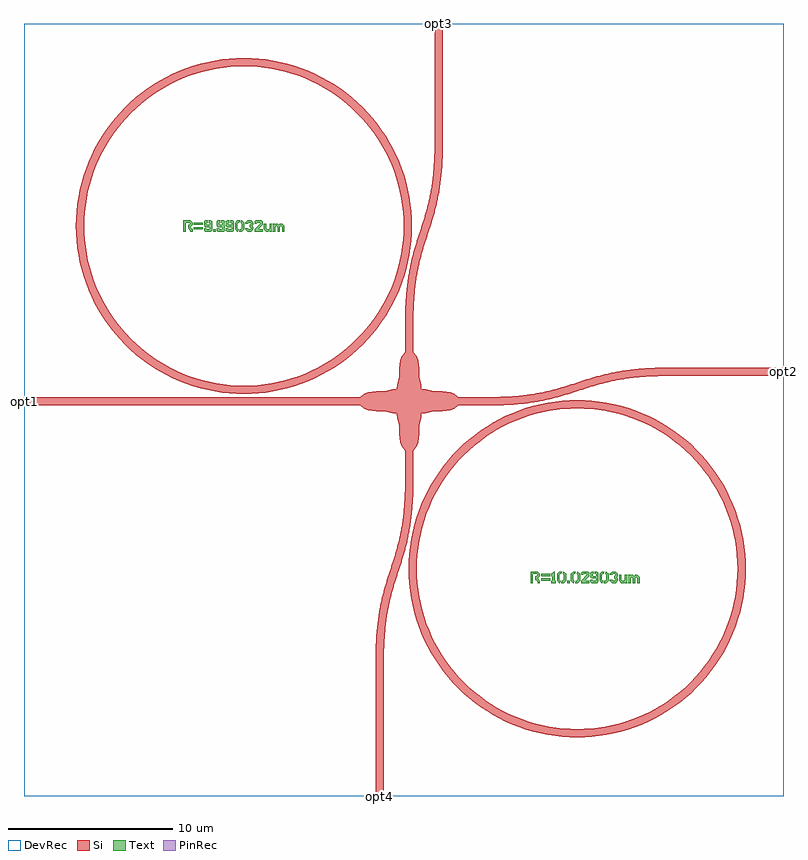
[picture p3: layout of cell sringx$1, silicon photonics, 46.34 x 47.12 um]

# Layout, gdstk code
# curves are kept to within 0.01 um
import gdstk
lib = gdstk.Library(unit=1e-6, precision=1e-09)
def R(c, l, rs):  # rectangles x0, y0, x1, y1
    for r in rs: c.add(gdstk.rectangle(r[:2], r[2:], *l))
def P(c, l, *ps):  # polygons
    for p in ps: c.add(gdstk.Polygon(p, *l))
Si = (1, 0)
PinRec = (1, 10)
Text = (10, 0)
DevRec = (68, 0)

sringx_1 = lib.new_cell('sringx$1')
R(sringx_1, Si, [(21.43,0,21.93,8.29), (0,23.83,18.68,24.33), (39.28,25.63,46.32,26.13), (25.03,39.88,25.53,47.1)])
P(sringx_1, Si, [(23.23,19.28),(23.23,21.08),(23.02,21.33),(22.93,21.58),(22.89,21.83),(22.86,22.58),(22.76,23.08),(22.73,23.34),(22.48,23.36),(21.98,23.46),(21.23,23.49),(20.98,23.53),(20.73,23.62),(20.48,23.83),(18.68,23.83),(18.68,24.33),(20.48,24.33),(20.73,24.54),(20.98,24.63),(21.23,24.67),(21.98,24.7),(22.48,24.8),(22.73,24.82),(22.76,25.08),(22.86,25.58),(22.89,26.33),(22.93,26.58),(23.02,26.83),(23.23,27.08),(23.23,28.88),(23.73,28.88),(23.73,27.08),(23.94,26.83),(24.03,26.58),(24.07,26.33),(24.1,25.58),(24.2,25.08),(24.22,24.83),(24.48,24.8),(24.98,24.7),(25.73,24.67),(25.98,24.63),(26.23,24.54),(26.48,24.33),(28.28,24.33),(28.28,23.83),(26.48,23.83),(26.23,23.62),(25.98,23.53),(25.73,23.49),(24.98,23.46),(24.48,23.36),(24.22,23.33),(24.2,23.08),(24.1,22.58),(24.07,21.83),(24.03,21.58),(23.94,21.33),(23.73,21.08),(23.73,19.28)],
  [(28.28,23.83),(28.28,24.33),(29.22,24.349),(30.051,24.403),(30.787,24.487),(31.549,24.617),(32.136,24.749),(32.68,24.896),(34.298,25.41),(35.017,25.622),(35.703,25.79),(36.467,25.933),(37.201,26.029),(37.879,26.087),(38.626,26.121),(39.28,26.13),(39.28,25.63),(38.34,25.611),(37.509,25.557),(36.773,25.473),(36.011,25.343),(35.424,25.211),(34.88,25.064),(33.262,24.55),(32.543,24.338),(31.857,24.17),(31.093,24.027),(30.359,23.931),(29.681,23.873),(28.934,23.839)],
  [(21.43,8.28),(21.439,8.934),(21.473,9.681),(21.531,10.359),(21.627,11.093),(21.77,11.857),(21.938,12.543),(22.15,13.262),(22.664,14.88),(22.811,15.424),(22.943,16.011),(23.073,16.773),(23.157,17.509),(23.211,18.34),(23.23,19.28),(23.73,19.28),(23.721,18.626),(23.687,17.879),(23.629,17.201),(23.533,16.467),(23.39,15.703),(23.222,15.017),(23.01,14.298),(22.496,12.68),(22.349,12.136),(22.217,11.549),(22.087,10.787),(22.003,10.051),(21.949,9.22),(21.93,8.28)],
  [(23.23,28.88),(23.239,29.534),(23.273,30.281),(23.331,30.959),(23.427,31.693),(23.57,32.457),(23.738,33.143),(23.95,33.862),(24.464,35.48),(24.611,36.024),(24.743,36.611),(24.873,37.373),(24.957,38.109),(25.011,38.94),(25.03,39.88),(25.53,39.88),(25.521,39.226),(25.487,38.479),(25.429,37.801),(25.333,37.067),(25.19,36.303),(25.022,35.617),(24.81,34.898),(24.296,33.28),(24.149,32.736),(24.017,32.149),(23.887,31.387),(23.803,30.651),(23.749,29.82),(23.73,28.88)],
  [(13.4,24.53),(12.953,24.539),(12.063,24.617),(11.184,24.772),(10.321,25.004),(9.481,25.309),(9.072,25.489),(8.672,25.687),(7.898,26.133),(7.526,26.382),(6.818,26.925),(6.159,27.529),(5.555,28.188),(5.276,28.536),(4.763,29.268),(4.317,30.042),(4.119,30.442),(3.939,30.851),(3.634,31.691),(3.402,32.554),(3.247,33.433),(3.169,34.323),(3.16,34.77),(3.169,35.217),(3.247,36.107),(3.402,36.986),(3.634,37.849),(3.939,38.689),(4.119,39.098),(4.317,39.498),(4.763,40.272),(5.012,40.644),(5.555,41.352),(6.159,42.011),(6.818,42.615),(7.166,42.894),(7.898,43.407),(8.672,43.853),(9.072,44.051),(9.481,44.231),(10.321,44.536),(11.184,44.768),(12.063,44.923),(12.953,45.001),(13.4,45.01),(13.847,45.001),(14.737,44.923),(15.616,44.768),(16.479,44.536),(17.319,44.231),(17.728,44.051),(18.128,43.853),(18.902,43.407),(19.274,43.158),(19.982,42.615),(20.641,42.011),(21.245,41.352),(21.524,41.004),(22.037,40.272),(22.483,39.498),(22.681,39.098),(22.861,38.689),(23.166,37.849),(23.398,36.986),(23.553,36.107),(23.631,35.217),(23.64,34.77),(23.14,34.77),(23.131,35.195),(23.057,36.041),(22.909,36.878),(22.69,37.699),(22.399,38.497),(22.04,39.268),(21.615,40.003),(21.379,40.357),(21.128,40.7),(20.581,41.35),(19.98,41.951),(19.33,42.498),(18.987,42.749),(18.27,43.205),(17.898,43.41),(17.127,43.769),(16.329,44.06),(15.921,44.178),(15.508,44.279),(14.671,44.427),(13.825,44.501),(12.975,44.501),(12.129,44.427),(11.709,44.362),(11.292,44.279),(10.471,44.06),(9.673,43.769),(8.902,43.41),(8.167,42.985),(7.47,42.498),(7.139,42.232),(6.513,41.657),(5.938,41.031),(5.672,40.7),(5.185,40.003),(4.76,39.268),(4.572,38.886),(4.401,38.497),(4.11,37.699),(3.891,36.878),(3.808,36.461),(3.743,36.041),(3.669,35.195),(3.669,34.345),(3.743,33.499),(3.808,33.079),(3.891,32.662),(4.11,31.841),(4.401,31.043),(4.572,30.654),(4.76,30.272),(5.185,29.537),(5.672,28.84),(5.938,28.509),(6.513,27.883),(7.139,27.308),(7.47,27.042),(7.813,26.791),(8.53,26.335),(8.902,26.13),(9.673,25.771),(10.471,25.48),(10.879,25.362),(11.292,25.261),(12.129,25.113),(12.975,25.039),(13.825,25.039),(14.249,25.067),(15.091,25.178),(15.508,25.261),(16.329,25.48),(17.127,25.771),(17.516,25.942),(17.898,26.13),(18.633,26.555),(19.33,27.042),(19.661,27.308),(20.287,27.883),(20.862,28.509),(21.128,28.84),(21.615,29.537),(22.04,30.272),(22.228,30.654),(22.399,31.043),(22.69,31.841),(22.909,32.662),(23.057,33.499),(23.131,34.345),(23.14,34.77),(23.64,34.77),(23.631,34.323),(23.553,33.433),(23.398,32.554),(23.166,31.691),(22.861,30.851),(22.681,30.442),(22.483,30.042),(22.037,29.268),(21.788,28.896),(21.245,28.188),(20.641,27.529),(19.982,26.925),(19.634,26.646),(18.902,26.133),(18.128,25.687),(17.728,25.489),(17.319,25.309),(16.479,25.004),(15.616,24.772),(14.737,24.617),(13.847,24.539)],
  [(33.72,3.591),(32.824,3.63),(31.935,3.747),(31.06,3.941),(30.204,4.211),(29.786,4.373),(28.974,4.752),(28.58,4.968),(27.824,5.45),(27.113,5.996),(26.452,6.602),(25.846,7.263),(25.3,7.974),(24.818,8.73),(24.602,9.124),(24.223,9.936),(24.061,10.354),(23.791,11.21),(23.597,12.085),(23.48,12.974),(23.441,13.87),(23.48,14.766),(23.597,15.655),(23.791,16.53),(24.061,17.386),(24.223,17.804),(24.602,18.616),(24.818,19.01),(25.3,19.766),(25.846,20.477),(26.452,21.138),(27.113,21.744),(27.824,22.29),(28.58,22.772),(28.974,22.988),(29.786,23.367),(30.204,23.529),(31.06,23.799),(31.935,23.993),(32.824,24.11),(33.72,24.149),(34.616,24.11),(35.505,23.993),(36.38,23.799),(37.236,23.529),(37.654,23.367),(38.466,22.988),(38.86,22.772),(39.616,22.29),(40.327,21.744),(40.988,21.138),(41.594,20.477),(42.14,19.766),(42.622,19.01),(42.838,18.616),(43.217,17.804),(43.379,17.386),(43.649,16.53),(43.843,15.655),(43.96,14.766),(43.999,13.87),(43.499,13.87),(43.462,14.722),(43.35,15.568),(43.166,16.401),(43.046,16.811),(42.755,17.612),(42.583,18.003),(42.189,18.76),(41.731,19.479),(41.211,20.156),(40.93,20.477),(40.327,21.08),(40.006,21.361),(39.329,21.881),(38.61,22.339),(37.853,22.733),(37.462,22.905),(37.065,23.059),(36.251,23.316),(35.418,23.5),(34.572,23.612),(34.147,23.64),(33.293,23.64),(32.444,23.565),(31.603,23.417),(30.779,23.196),(29.978,22.905),(29.587,22.733),(28.83,22.339),(28.111,21.881),(27.767,21.628),(27.113,21.08),(26.805,20.785),(26.51,20.477),(25.962,19.823),(25.709,19.479),(25.251,18.76),(24.857,18.003),(24.685,17.612),(24.531,17.215),(24.274,16.401),(24.173,15.987),(24.025,15.146),(23.95,14.297),(23.95,13.443),(23.978,13.018),(24.09,12.172),(24.173,11.753),(24.274,11.339),(24.531,10.525),(24.857,9.737),(25.251,8.98),(25.472,8.616),(25.709,8.261),(26.229,7.584),(26.51,7.263),(27.113,6.66),(27.434,6.379),(28.111,5.859),(28.83,5.401),(29.587,5.007),(29.978,4.835),(30.375,4.681),(31.189,4.424),(31.603,4.323),(32.444,4.175),(33.293,4.1),(34.147,4.1),(34.572,4.128),(35.418,4.24),(35.837,4.323),(36.251,4.424),(37.065,4.681),(37.853,5.007),(38.61,5.401),(38.974,5.622),(39.329,5.859),(40.006,6.379),(40.635,6.955),(41.211,7.584),(41.731,8.261),(41.968,8.616),(42.189,8.98),(42.583,9.737),(42.909,10.525),(43.166,11.339),(43.267,11.753),(43.415,12.594),(43.49,13.443),(43.499,13.87),(43.999,13.87),(43.96,12.974),(43.843,12.085),(43.649,11.21),(43.379,10.354),(43.217,9.936),(42.838,9.124),(42.622,8.73),(42.14,7.974),(41.594,7.263),(40.988,6.602),(40.327,5.996),(39.616,5.45),(38.86,4.968),(38.466,4.752),(37.654,4.373),(37.236,4.211),(36.38,3.941),(35.505,3.747),(34.616,3.63)])
R(sringx_1, Text, [(33.124,13.001,33.264,13.141), (31.514,13.141,32.074,13.281), (31.514,13.421,32.074,13.561), (11.53,34.42,11.67,34.56), (10.34,34.56,10.9,34.7), (10.34,34.84,10.9,34.98)])
P(sringx_1, Text, [(32.753,13.001),(32.788,13.141),(32.844,13.141),(32.914,13.211),(32.914,13.491),(32.844,13.561),(32.879,13.701),(32.914,13.701),(33.054,13.561),(33.054,13.141),(32.914,13.001)],
  [(33.593,13.001),(33.628,13.141),(33.684,13.141),(33.754,13.211),(33.754,13.491),(33.684,13.561),(33.719,13.701),(33.754,13.701),(33.894,13.561),(33.894,13.141),(33.754,13.001)],
  [(35.343,13.001),(35.378,13.141),(35.434,13.141),(35.504,13.211),(35.504,13.491),(35.434,13.561),(35.469,13.701),(35.504,13.701),(35.644,13.561),(35.644,13.141),(35.504,13.001)],
  [(13.119,34.42),(13.154,34.56),(13.21,34.56),(13.28,34.63),(13.28,34.91),(13.21,34.98),(13.245,35.12),(13.28,35.12),(13.42,34.98),(13.42,34.56),(13.28,34.42)],
  [(33.964,13.001),(33.964,13.141),(34.314,13.491),(34.314,13.561),(34.104,13.561),(34.104,13.491),(33.964,13.491),(33.964,13.631),(34.034,13.701),(34.384,13.701),(34.454,13.631),(34.454,13.421),(34.174,13.141),(34.454,13.141),(34.454,13.001)],
  [(14.05,34.42),(14.05,34.56),(14.4,34.91),(14.4,34.98),(14.19,34.98),(14.19,34.91),(14.05,34.91),(14.05,35.05),(14.12,35.12),(14.47,35.12),(14.54,35.05),(14.54,34.84),(14.26,34.56),(14.54,34.56),(14.54,34.42)],
  [(35.854,13.001),(35.714,13.141),(35.714,13.211),(35.854,13.211),(35.924,13.141),(35.994,13.141),(36.064,13.211),(35.994,13.281),(35.994,13.421),(36.064,13.491),(35.994,13.561),(35.924,13.561),(35.854,13.491),(35.714,13.491),(35.714,13.561),(35.854,13.701),(36.064,13.701),(36.204,13.561),(36.204,13.421),(36.134,13.351),(36.204,13.281),(36.204,13.141),(36.064,13.001)],
  [(13.63,34.42),(13.49,34.56),(13.49,34.63),(13.63,34.63),(13.7,34.56),(13.77,34.56),(13.84,34.63),(13.77,34.7),(13.77,34.84),(13.84,34.91),(13.77,34.98),(13.7,34.98),(13.63,34.91),(13.49,34.91),(13.49,34.98),(13.63,35.12),(13.84,35.12),(13.98,34.98),(13.98,34.84),(13.91,34.77),(13.98,34.7),(13.98,34.56),(13.84,34.42)],
  [(30.884,13.001),(30.884,13.701),(31.304,13.701),(31.444,13.561),(31.444,13.421),(31.304,13.281),(31.444,13.141),(31.444,13.001),(31.304,13.001),(31.304,13.071),(31.164,13.211),(31.164,13.421),(31.234,13.421),(31.304,13.491),(31.234,13.561),(31.024,13.561),(31.024,13.001)],
  [(9.71,34.42),(9.71,35.12),(10.13,35.12),(10.27,34.98),(10.27,34.84),(10.13,34.7),(10.27,34.56),(10.27,34.42),(10.13,34.42),(10.13,34.49),(9.99,34.63),(9.99,34.84),(10.06,34.84),(10.13,34.91),(10.06,34.98),(9.85,34.98),(9.85,34.42)],
  [(36.834,13.001),(36.834,13.491),(36.974,13.491),(36.974,13.421),(37.044,13.491),(37.114,13.491),(37.184,13.421),(37.254,13.491),(37.394,13.491),(37.534,13.351),(37.534,13.001),(37.394,13.001),(37.394,13.281),(37.324,13.351),(37.254,13.281),(37.254,13.001),(37.114,13.001),(37.114,13.281),(37.044,13.351),(36.974,13.281),(36.974,13.001)],
  [(15.17,34.42),(15.17,34.91),(15.31,34.91),(15.31,34.84),(15.38,34.91),(15.45,34.91),(15.52,34.84),(15.59,34.91),(15.73,34.91),(15.87,34.77),(15.87,34.42),(15.73,34.42),(15.73,34.7),(15.66,34.77),(15.59,34.7),(15.59,34.42),(15.45,34.42),(15.45,34.7),(15.38,34.77),(15.31,34.7),(15.31,34.42)],
  [(32.634,13.001),(32.494,13.141),(32.494,13.561),(32.634,13.701),(32.795,13.701),(32.76,13.561),(32.704,13.561),(32.634,13.491),(32.634,13.211),(32.704,13.141),(32.669,13.001)],
  [(33.474,13.001),(33.334,13.141),(33.334,13.561),(33.474,13.701),(33.635,13.701),(33.6,13.561),(33.544,13.561),(33.474,13.491),(33.474,13.211),(33.544,13.141),(33.509,13.001)],
  [(35.224,13.001),(35.084,13.141),(35.084,13.561),(35.224,13.701),(35.385,13.701),(35.35,13.561),(35.294,13.561),(35.224,13.491),(35.224,13.211),(35.294,13.141),(35.259,13.001)],
  [(13,34.42),(12.86,34.56),(12.86,34.98),(13,35.12),(13.161,35.12),(13.126,34.98),(13.07,34.98),(13,34.91),(13,34.63),(13.07,34.56),(13.035,34.42)],
  [(36.414,13.001),(36.274,13.141),(36.274,13.491),(36.414,13.491),(36.414,13.211),(36.484,13.141),(36.554,13.141),(36.624,13.211),(36.624,13.491),(36.764,13.491),(36.764,13.001),(36.624,13.001),(36.624,13.071),(36.554,13.001)],
  [(14.75,34.42),(14.61,34.56),(14.61,34.91),(14.75,34.91),(14.75,34.63),(14.82,34.56),(14.89,34.56),(14.96,34.63),(14.96,34.91),(15.1,34.91),(15.1,34.42),(14.96,34.42),(14.96,34.49),(14.89,34.42)],
  [(32.144,13.001),(32.144,13.141),(32.214,13.141),(32.214,13.421),(32.144,13.421),(32.144,13.561),(32.284,13.701),(32.354,13.701),(32.354,13.141),(32.424,13.141),(32.424,13.001)],
  [(34.594,13.001),(34.524,13.071),(34.524,13.211),(34.664,13.211),(34.664,13.141),(34.874,13.141),(34.874,13.281),(34.594,13.281),(34.524,13.351),(34.524,13.631),(34.594,13.701),(34.734,13.701),(34.734,13.561),(34.664,13.561),(34.664,13.421),(34.874,13.421),(34.874,13.561),(34.804,13.561),(34.804,13.701),(34.944,13.701),(35.014,13.631),(35.014,13.071),(34.944,13.001)],
  [(11.04,34.42),(10.97,34.49),(10.97,34.63),(11.11,34.63),(11.11,34.56),(11.32,34.56),(11.32,34.7),(11.04,34.7),(10.97,34.77),(10.97,35.05),(11.04,35.12),(11.18,35.12),(11.18,34.98),(11.11,34.98),(11.11,34.84),(11.32,34.84),(11.32,34.98),(11.25,34.98),(11.25,35.12),(11.39,35.12),(11.46,35.05),(11.46,34.49),(11.39,34.42)],
  [(11.81,34.42),(11.74,34.49),(11.74,34.63),(11.88,34.63),(11.88,34.56),(12.09,34.56),(12.09,34.7),(11.81,34.7),(11.74,34.77),(11.74,35.05),(11.81,35.12),(11.95,35.12),(11.95,34.98),(11.88,34.98),(11.88,34.84),(12.09,34.84),(12.09,34.98),(12.02,34.98),(12.02,35.12),(12.16,35.12),(12.23,35.05),(12.23,34.49),(12.16,34.42)],
  [(12.37,34.42),(12.3,34.49),(12.3,34.63),(12.44,34.63),(12.44,34.56),(12.65,34.56),(12.65,34.7),(12.37,34.7),(12.3,34.77),(12.3,35.05),(12.37,35.12),(12.51,35.12),(12.51,34.98),(12.44,34.98),(12.44,34.84),(12.65,34.84),(12.65,34.98),(12.58,34.98),(12.58,35.12),(12.72,35.12),(12.79,35.05),(12.79,34.49),(12.72,34.42)])
R(sringx_1, DevRec, [(0,0,46.32,47.1)])
sringx_1.add(gdstk.FlexPath([(0.01,24.08),(-0.01,24.08)], 0.5, ends="flush", simple_path=True, layer=1, datatype=10))  # PinRec
sringx_1.add(gdstk.FlexPath([(46.31,25.88),(46.33,25.88)], 0.5, ends="flush", simple_path=True, layer=1, datatype=10))  # PinRec
sringx_1.add(gdstk.FlexPath([(25.28,47.09),(25.28,47.11)], 0.5, ends="flush", simple_path=True, layer=1, datatype=10))  # PinRec
sringx_1.add(gdstk.FlexPath([(21.68,0.01),(21.68,-0.01)], 0.5, ends="flush", simple_path=True, layer=1, datatype=10))  # PinRec
sringx_1.add(gdstk.Label('opt2', (46.32,25.88), layer=1, texttype=10))
sringx_1.add(gdstk.Label('opt1', (0,24.08), layer=1, texttype=10))
sringx_1.add(gdstk.Label('opt3', (25.28,47.1), layer=1, texttype=10))
sringx_1.add(gdstk.Label('opt4', (21.68,0), layer=1, texttype=10))

lib.write_gds('sringx_1.gds')
